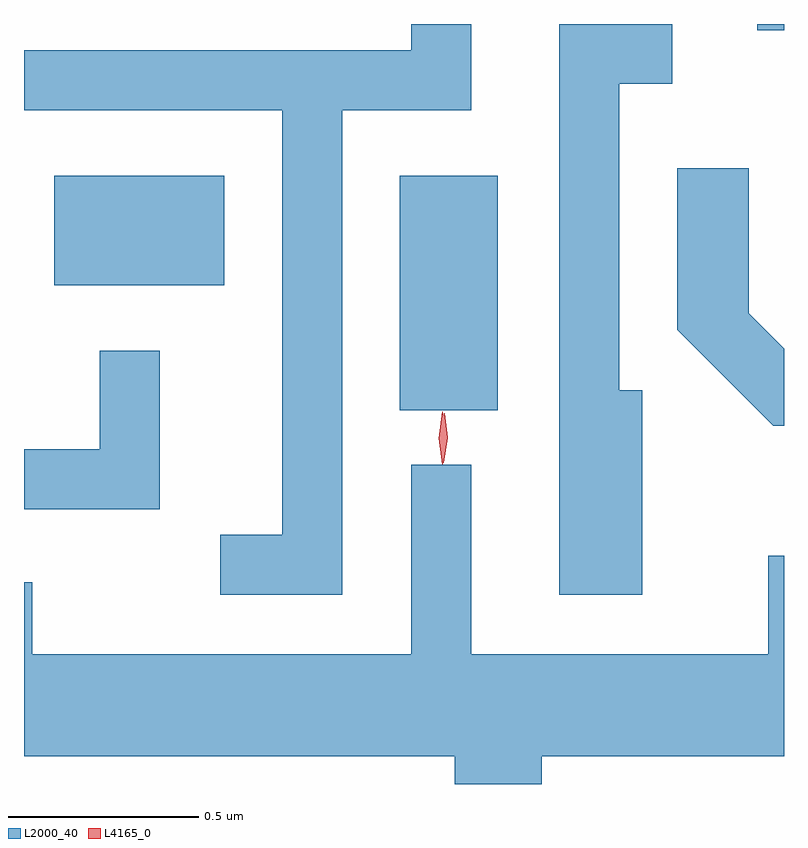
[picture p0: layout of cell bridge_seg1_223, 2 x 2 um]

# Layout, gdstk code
import gdstk
lib = gdstk.Library(unit=1e-6, precision=1e-09)
def R(c, l, rs):  # rectangles x0, y0, x1, y1
    for r in rs: c.add(gdstk.rectangle(r[:2], r[2:], *l))
def P(c, l, *ps):  # polygons
    for p in ps: c.add(gdstk.Polygon(p, *l))
L2000_40 = (2000, 40)
L4165_0 = (4165, 0)

bridge_seg1_223 = lib.new_cell('bridge_seg1_223')
R(bridge_seg1_223, L2000_40, [(770.246,858.306,770.504,858.924), (769.336,858.636,769.784,858.924), (771.186,859.306,771.257,859.323)])
P(bridge_seg1_223, L2000_40, [(770.094,859.096),(770.434,859.096),(770.434,859.323),(770.276,859.323),(770.276,859.254),(769.257,859.254),(769.257,859.096),(769.936,859.096),(769.936,857.979),(769.773,857.979),(769.773,857.821),(770.094,857.821)],
  [(770.884,858.359),(770.824,858.359),(770.824,859.166),(770.963,859.166),(770.963,859.323),(770.666,859.323),(770.666,857.821),(770.884,857.821)],
  [(771.257,858.469),(771.164,858.562),(771.164,858.944),(770.976,858.944),(770.976,858.519),(771.229,858.266),(771.257,858.266)],
  [(769.614,858.463),(769.456,858.463),(769.456,858.204),(769.257,858.204),(769.257,858.046),(769.614,858.046)],
  [(770.619,857.396),(771.257,857.396),(771.257,857.924),(771.216,857.924),(771.216,857.664),(770.434,857.664),(770.434,858.163),(770.276,858.163),(770.276,857.664),(769.279,857.664),(769.279,857.854),(769.257,857.854),(769.257,857.396),(770.391,857.396),(770.391,857.323),(770.619,857.323)])
P(bridge_seg1_223, L4165_0, [(770.358,858.164),(770.358,858.165),(770.348,858.233),(770.358,858.302),(770.358,858.302),(770.359,858.302),(770.368,858.233),(770.359,858.165)],
  [(770.36,858.168),(770.352,858.234),(770.363,858.299),(770.364,858.299),(770.364,858.299),(770.372,858.234),(770.361,858.168),(770.361,858.168)])

lib.write_gds('bridge_seg1_223.gds')
